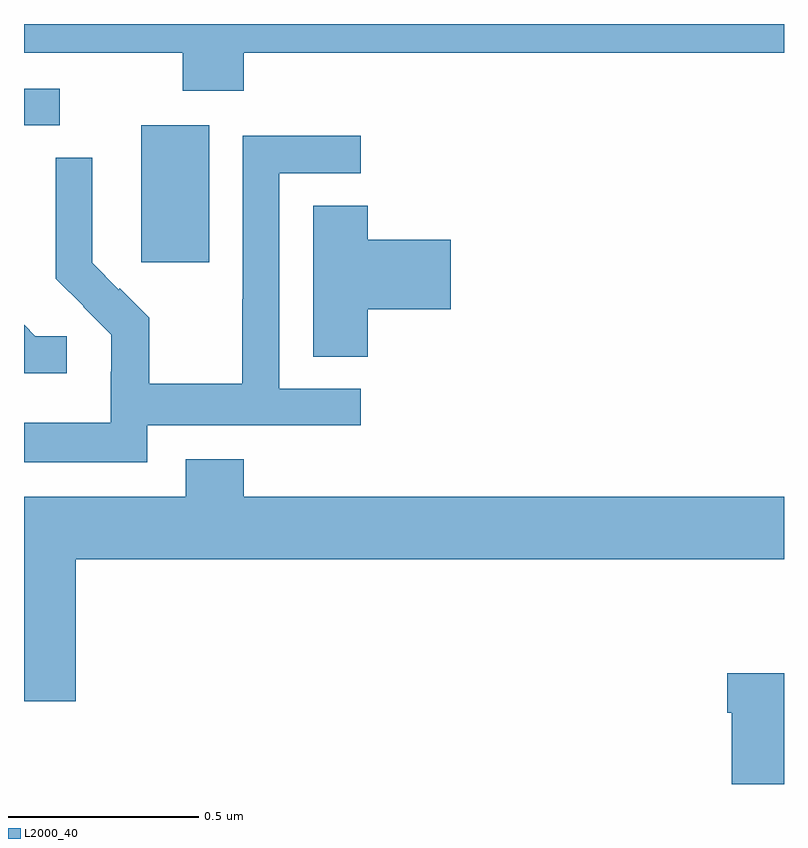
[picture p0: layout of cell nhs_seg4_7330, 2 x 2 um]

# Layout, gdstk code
import gdstk
lib = gdstk.Library(unit=1e-6, precision=1e-09)
def R(c, l, rs):  # rectangles x0, y0, x1, y1
    for r in rs: c.add(gdstk.rectangle(r[:2], r[2:], *l))
def P(c, l, *ps):  # polygons
    for p in ps: c.add(gdstk.Polygon(p, *l))
L2000_40 = (2000, 40)

nhs_seg4_7330 = lib.new_cell('nhs_seg4_7330')
R(nhs_seg4_7330, L2000_40, [(201.308,792.273,201.487,792.634), (201,792.633,201.094,792.729)])
P(nhs_seg4_7330, L2000_40, [(201.578,792.824),(203,792.824),(203,792.9),(201,792.9),(201,792.824),(201.418,792.824),(201.418,792.725),(201.578,792.725)],
  [(201.324,791.844),(201.886,791.844),(201.886,791.94),(201.672,791.94),(201.672,792.507),(201.886,792.507),(201.886,792.606),(201.576,792.606),(201.576,792.176),(201.574,792.176),(201.574,791.953),(201.329,791.953),(201.329,792.127),(201.252,792.204),(201.249,792.201),(201.179,792.272),(201.179,792.394),(201.18,792.394),(201.18,792.548),(201.084,792.548),(201.084,792.23),(201.157,792.157),(201.156,792.156),(201.23,792.082),(201.23,791.985),(201.228,791.985),(201.228,791.851),(201,791.851),(201,791.747),(201.324,791.747)],
  [(201.905,792.149),(202.123,792.149),(202.123,792.332),(201.905,792.332),(201.905,792.422),(201.761,792.422),(201.761,792.025),(201.905,792.025)],
  [(201.112,792.078),(201.03,792.078),(201,792.108),(201,791.981),(201.112,791.981)],
  [(201.136,791.492),(203,791.492),(203,791.656),(201.578,791.656),(201.578,791.755),(201.425,791.755),(201.425,791.656),(201,791.656),(201,791.118),(201.136,791.118)],
  [(203,791.191),(202.85,791.191),(202.85,791.087),(202.862,791.087),(202.862,790.9),(203,790.9)])

lib.write_gds('nhs_seg4_7330.gds')
